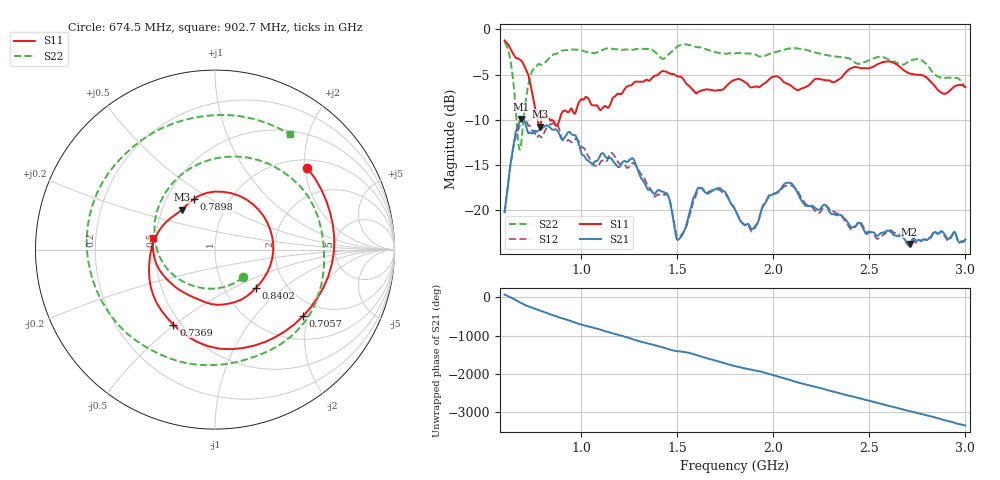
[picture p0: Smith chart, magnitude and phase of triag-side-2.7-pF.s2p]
#  HZ  S  RI  R  50.00
! Rohde & Schwarz ZVB8 2Ports - Version 2.81 - 1145.1010k08 SN: 100113
! Date: 2016-03-12 03:21:34
! Measurements: S11 S21 S12 S22
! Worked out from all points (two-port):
!   1000 points, 600 MHz to 3 GHz, reference 50 ohm
!   highest |S21| = -9.94 dB at 686.5 MHz (marker M1); lowest = -23.8 dB at 2.709 GHz (marker M2)
!   |S21| within 3 dB of the highest: 645 MHz to 989.4 MHz (344.4 MHz wide, 42.1 % of centre)
!   lowest |S11| = -10.8 dB at 782.6 MHz (marker M3), VSWR 1.81, Z = 31.6 + j15.4 ohm
!   |S11| at or under -10 dB: 772 MHz to 793.2 MHz (21.2 MHz wide, 2.71 % of centre); 834.6 MHz to 886.4 MHz (51.77 MHz wide, 6.02 % of centre)
!   |S22| runs from -13.3 to -1.4 dB; largest |S21 - S12| = 0.032
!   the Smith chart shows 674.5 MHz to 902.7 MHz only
!   S11 on the Smith chart (normalised r, x): 674.5 MHz: 1.20, +2.06; 705.7 MHz: 1.56, -1.87; 736.9 MHz: 0.46, -0.49; 789.8 MHz: 0.68, +0.43; 840.2 MHz: 1.41, -0.66; 902.7 MHz: 0.48, +0.07
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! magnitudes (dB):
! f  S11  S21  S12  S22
! 600 MHz  -1.2  -20.3  -20.3  -1.4
! 636 MHz  -2.4  -14.2  -14.3  -4.2
! 674.5 MHz  -3.3  -10.4  -10.9  -13.1
! 686.5 MHz  -3.5  -9.9  -10.2  -12.6
! 705.7 MHz  -4.2  -10.3  -9.8  -8.6
! 736.9 MHz  -6.4  -11.5  -10.9  -5.0
! 782.6 MHz  -10.8  -11.2  -11.8  -3.9
! 789.8 MHz  -10.3  -11.1  -12.0  -3.9
! 840.2 MHz  -10.1  -10.9  -10.5  -3.0
! 902.7 MHz  -9.1  -12.2  -12.3  -2.3
! 1.001 GHz  -7.7  -13.8  -13.0  -2.3
! 1.265 GHz  -6.1  -14.3  -14.8  -2.3
! 1.4 GHz  -5.0  -17.8  -18.3  -2.8
! 1.506 GHz  -5.2  -23.3  -23.0  -1.8
! 1.614 GHz  -6.9  -17.6  -17.6  -2.0
! 1.801 GHz  -5.6  -20.0  -20.0  -2.6
! 1.892 GHz  -6.4  -22.1  -22.4  -2.7
! 2.077 GHz  -6.1  -17.0  -17.3  -2.1
! 2.2 GHz  -5.9  -19.6  -19.7  -2.5
! 2.601 GHz  -3.5  -22.4  -22.3  -3.4
! 2.709 GHz  -4.9  -23.8  -24.1  -3.5
! 3 GHz  -6.4  -23.3  -23.3  -6.5
